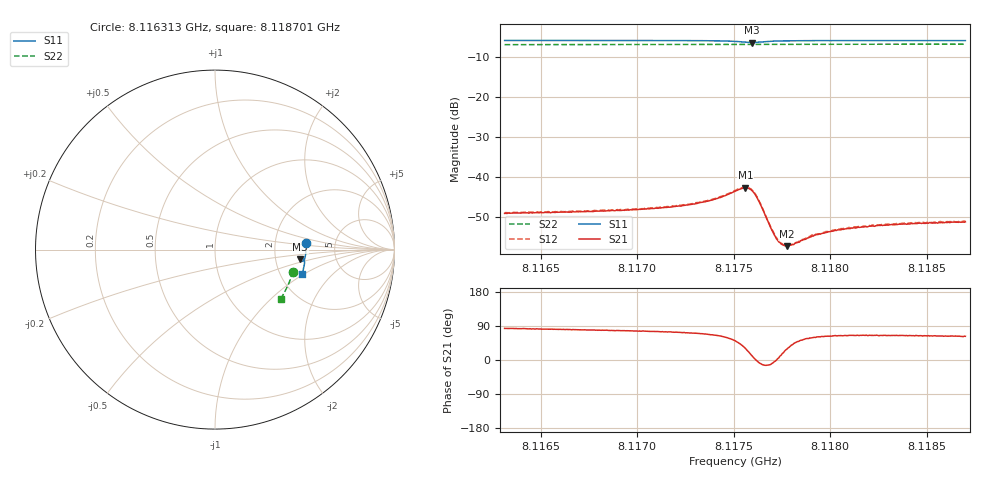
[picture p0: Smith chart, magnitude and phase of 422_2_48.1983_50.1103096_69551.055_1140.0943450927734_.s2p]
#  HZ  S  RI  R  50.00
! Rohde & Schwarz Vector Network Analyzer
! Rohde-Schwarz,ZNB20-2Port,1311601062101988,3.16
! Created: UTC 3/20/2024, 11:54:58 AM
! freq[Hz]  re:S11  im:S11  re:S21  im:S21  re:S12  im:S12  re:S22  im:S22
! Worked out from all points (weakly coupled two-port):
!   401 points, 8.116313 GHz to 8.118701 GHz, reference 50 ohm
!   highest |S21| = -42.62 dB at 8.117561 GHz (marker M1); lowest = -57.2 dB at 8.117776 GHz (marker M2)
!   lowest |S11| = -6.4 dB at 8.117597 GHz (marker M3), VSWR 2.83, Z = 139 - j19.2 ohm
!   |S11| at or under -10 dB: nowhere
!   |S22| runs from -6.9 to -6.8 dB; largest |S21 - S12| = 0.0002
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8.1163133e9  0.5059 0.0352  0.000405 0.00351  0.000448 0.00358  0.4326 -0.1226
8.1167132e9  0.5065 0.00484  0.000667 0.00366  0.000741 0.0037  0.4252 -0.1491
8.1171131e9  0.5048 -0.0267  0.00108 0.00398  0.00115 0.00402  0.4163 -0.1756
8.1172563e9  0.5032 -0.0386  0.0014 0.00428  0.00145 0.00433  0.4125 -0.185
8.1173458e9  0.5014 -0.0469  0.00178 0.00459  0.00186 0.00464  0.4101 -0.1907
8.1174294e9  0.4978 -0.0554  0.0025 0.00497  0.00261 0.00509  0.4077 -0.1961
8.117507e9  0.4897 -0.0634  0.00419 0.00517  0.00435 0.00528  0.4051 -0.2012
8.1175607e9  0.4785 -0.0623  0.00636 0.00377  0.00651 0.00379  0.403 -0.2042
8.1175786e9  0.4757 -0.0584  0.00676 0.00257  0.00693 0.00255  0.4025 -0.2051
8.1175965e9  0.4751 -0.0534  0.00664 0.0012  0.00679 0.00112  0.4021 -0.206
8.1176264e9  0.4801 -0.0469  0.00524 -0.000458  0.00536 -0.000514  0.4015 -0.2076
8.1176861e9  0.4924 -0.049  0.00247 -0.000556  0.0025 -0.000554  0.4006 -0.2113
8.1177219e9  0.496 -0.0537  0.0017 -1.03e-05  0.00175 -1.34e-05  0.3995 -0.2137
8.1177338e9  0.4967 -0.0551  0.00155 0.000155  0.00163 0.000147  0.3991 -0.2145
8.1177517e9  0.4975 -0.0574  0.00138 0.000421  0.00142 0.000419  0.3986 -0.2159
8.1177756e9  0.4983 -0.0603  0.00121 0.000661  0.00125 0.000678  0.3979 -0.2172
8.1177995e9  0.4986 -0.0631  0.00111 0.00091  0.00113 0.000889  0.3971 -0.2188
8.1179069e9  0.4989 -0.0739  0.00096 0.00158  0.000988 0.00164  0.3937 -0.2257
8.1179964e9  0.498 -0.0817  0.00095 0.00186  0.000961 0.00188  0.3908 -0.2313
8.1180681e9  0.497 -0.0878  0.000979 0.00201  0.000984 0.00207  0.3884 -0.2358
8.1183068e9  0.4936 -0.1063  0.00109 0.0023  0.00114 0.00232  0.3802 -0.2501
8.1187007e9  0.4861 -0.1355  0.00128 0.00246  0.0013 0.00249  0.3651 -0.2736
